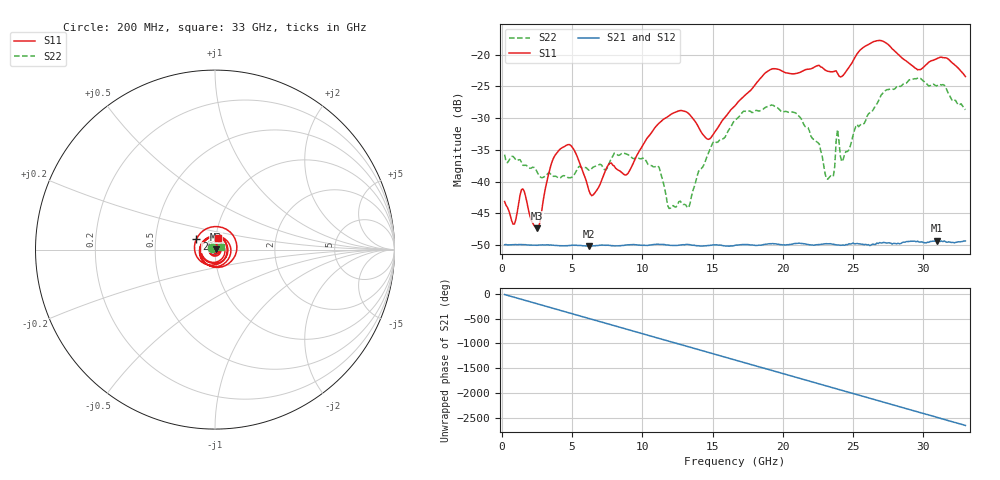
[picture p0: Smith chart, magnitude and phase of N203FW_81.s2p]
# GHZ S RI R 50
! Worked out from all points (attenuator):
!   329 points, 200 MHz to 33 GHz, reference 50 ohm
!   highest |S21| = -49.30 dB at 31 GHz (marker M1); lowest = -50.2 dB at 6.2 GHz (marker M2)
!   lowest |S11| = -47.4 dB at 2.5 GHz (marker M3), VSWR 1.01, Z = 50.3 + j0.25 ohm
!   |S11| at or under -10 dB: start of sweep to end of sweep
!   |S22| runs from -44.2 to -23.6 dB; largest |S21 - S12| = 8.8e-05
!   S11 on the Smith chart (normalised r, x): 200 MHz: 1.01, +0.01; 26 GHz: 0.81, +0.09; 33 GHz: 1.03, +0.13
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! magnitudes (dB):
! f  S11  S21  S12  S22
! 200 MHz  -43.1  -50.0  -49.9  -35.8
! 900 MHz  -46.7  -49.9  -49.9  -36.3
! 1.5 GHz  -41.2  -49.9  -49.9  -37.4
! 2.5 GHz  -47.4  -50.1  -50.0  -38.4
! 3.8 GHz  -35.8  -50.1  -50.0  -39.1
! 5.7 GHz  -38.0  -50.1  -50.1  -37.9
! 6.2 GHz  -41.4  -50.2  -50.2  -38.2
! 11.2 GHz  -30.8  -49.9  -49.9  -37.8
! 11.9 GHz  -29.6  -50.0  -50.0  -44.2
! 13.3 GHz  -29.3  -49.9  -50.0  -44.1
! 14.7 GHz  -33.3  -50.1  -50.1  -35.5
! 16.6 GHz  -28.0  -50.1  -50.1  -30.3
! 19.3 GHz  -22.2  -49.8  -49.8  -27.9
! 22.1 GHz  -22.1  -50.0  -50.0  -33.2
! 23.2 GHz  -22.6  -49.8  -49.8  -39.6
! 23.6 GHz  -22.7  -49.9  -49.9  -39.2
! 23.9 GHz  -22.9  -50.0  -50.0  -31.8
! 24.2 GHz  -23.4  -50.0  -50.0  -36.9
! 26 GHz  -18.5  -50.0  -49.9  -29.7
! 27.6 GHz  -18.6  -49.7  -49.7  -25.4
! 31 GHz  -20.6  -49.3  -49.3  -24.9
! 33 GHz  -23.4  -49.4  -49.4  -28.7
